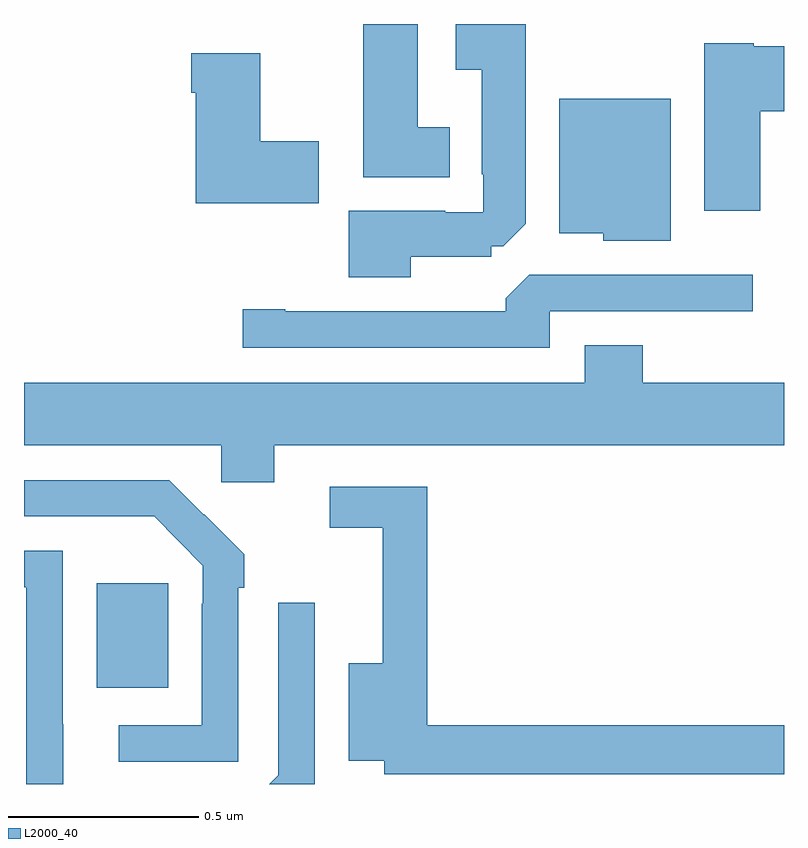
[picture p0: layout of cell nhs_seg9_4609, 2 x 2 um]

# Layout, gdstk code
import gdstk
lib = gdstk.Library(unit=1e-6, precision=1e-09)
def R(c, l, rs):  # rectangles x0, y0, x1, y1
    for r in rs: c.add(gdstk.rectangle(r[:2], r[2:], *l))
def P(c, l, *ps):  # polygons
    for p in ps: c.add(gdstk.Polygon(p, *l))
L2000_40 = (2000, 40)

nhs_seg9_4609 = lib.new_cell('nhs_seg9_4609')
R(nhs_seg9_4609, L2000_40, [(168.191,1223.753,168.379,1224.028)])
P(nhs_seg9_4609, L2000_40, [(169.12,1225.228),(169.036,1225.228),(169.036,1225.5),(168.893,1225.5),(168.893,1225.097),(169.12,1225.097)],
  [(169.018,1224.887),(169.23,1224.887),(169.23,1224.915),(169.261,1224.915),(169.321,1224.975),(169.321,1225.5),(169.136,1225.5),(169.136,1225.379),(169.205,1225.379),(169.205,1225.105),(169.209,1225.105),(169.209,1225.005),(169.109,1225.005),(169.109,1225.009),(168.854,1225.009),(168.854,1224.833),(169.018,1224.833)],
  [(169.937,1225.271),(170,1225.271),(170,1225.441),(169.92,1225.441),(169.92,1225.45),(169.79,1225.45),(169.79,1225.008),(169.937,1225.008)],
  [(168.775,1225.191),(168.622,1225.191),(168.622,1225.423),(168.44,1225.423),(168.44,1225.319),(168.452,1225.319),(168.452,1225.028),(168.775,1225.028)],
  [(169.702,1225.303),(169.409,1225.303),(169.409,1224.95),(169.524,1224.95),(169.524,1224.929),(169.702,1224.929)],
  [(169.383,1224.744),(169.918,1224.744),(169.918,1224.84),(169.329,1224.84),(169.268,1224.778),(169.268,1224.744),(168.688,1224.744),(168.688,1224.749),(168.576,1224.749),(168.576,1224.648),(169.383,1224.648)],
  [(168.658,1224.392),(170,1224.392),(170,1224.556),(169.628,1224.556),(169.628,1224.655),(169.475,1224.655),(169.475,1224.556),(168,1224.556),(168,1224.392),(168.519,1224.392),(168.519,1224.294),(168.658,1224.294)],
  [(168.564,1224.017),(168.579,1224.017),(168.579,1224.105),(168.474,1224.21),(168.473,1224.209),(168.382,1224.3),(168,1224.3),(168,1224.204),(168.343,1224.204),(168.471,1224.075),(168.471,1223.975),(168.468,1223.975),(168.468,1223.655),(168.249,1223.655),(168.249,1223.559),(168.564,1223.559)],
  [(170,1223.654),(169.061,1223.654),(169.061,1224.282),(168.804,1224.282),(168.804,1224.174),(168.944,1224.174),(168.944,1223.818),(168.854,1223.818),(168.854,1223.561),(168.948,1223.561),(168.948,1223.526),(170,1223.526)],
  [(168.103,1223.657),(168.102,1223.657),(168.102,1224.114),(168,1224.114),(168,1224.018),(168.006,1224.018),(168.006,1223.5),(168.103,1223.5)],
  [(168.765,1223.977),(168.669,1223.977),(168.669,1223.523),(168.646,1223.5),(168.765,1223.5)])

lib.write_gds('nhs_seg9_4609.gds')
